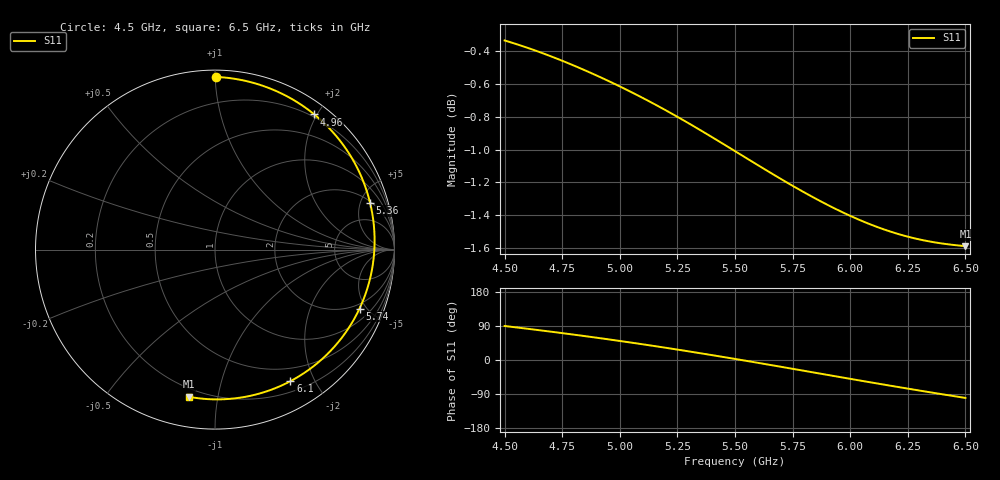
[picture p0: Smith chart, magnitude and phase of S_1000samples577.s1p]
! TOUCHSTONE file generated by CST MICROWAVE STUDIO
! Date and time: Fri Oct 28 16:05:40 2022
! Project name: L.cst
! Parameters = {Di=1.27; Epsilon_r=1.56; InnerDiameter=1.27; Length=2; Lf=10; Lg=60; OuterConductorThickness=0.2921; OuterDiameter=3.6; Wf=3; Wp=41.2; de=1.5; df=6.8; g=0.8; gx=2.88991; gy=2.95996; h=2.34; hf=1.524; px=8.26913; py=10.1969; w=9.7; wx=5.37922; wy=7.23692}
! Header version: 2018
! Port assignment regex: !\s*Touchstone port\s*([0-9]+)\s*=\s*(CST MWS port|CST DS port)\s*([0-9]+|Zmin|Zmax)\s*\(\"(.*)\"\)(\s*mode\s*([0-9]+))?.*
! Touchstone port assignment:
! Touchstone port 1 = CST MWS port 1 ("")
# GHz S DB R 50
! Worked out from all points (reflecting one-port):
!   101 points, 4.5 GHz to 6.5 GHz, reference 50 ohm
!   lowest |S11| = -1.6 dB at 6.5 GHz (marker M1), VSWR 10.96, Z = 7.72 - j41.3 ohm
!   phase of S11 starts at 90 deg and turns -190 deg over the sweep
!   S11 on the Smith chart (normalised r, x): 4.5 GHz: 0.04, +1.00; 4.96 GHz: 0.17, +1.96; 5.36 GHz: 2.14, +6.02; 5.74 GHz: 1.67, -4.50; 6.1 GHz: 0.33, -1.68; 6.5 GHz: 0.15, -0.83
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4.5  -0.34 89.7
4.58  -0.37 83.9
4.64  -0.40 79.4
4.76  -0.47 70.1
4.86  -0.52 62.1
4.96  -0.59 53.7
5  -0.62 50.2
5.12  -0.70 39.6
5.2  -0.76 32.2
5.26  -0.81 26.5
5.36  -0.89 16.8
5.44  -0.96 8.9
5.5  -1.01 2.8
5.56  -1.06 -3.4
5.62  -1.11 -9.6
5.68  -1.16 -15.9
5.74  -1.21 -22.2
5.76  -1.23 -24.3
5.82  -1.28 -30.7
5.88  -1.32 -37.0
6  -1.40 -49.7
6.1  -1.46 -60.2
6.18  -1.50 -68.4
6.26  -1.53 -76.5
6.32  -1.55 -82.5
6.38  -1.57 -88.5
6.44  -1.58 -94.3
6.5  -1.59 -100.1
